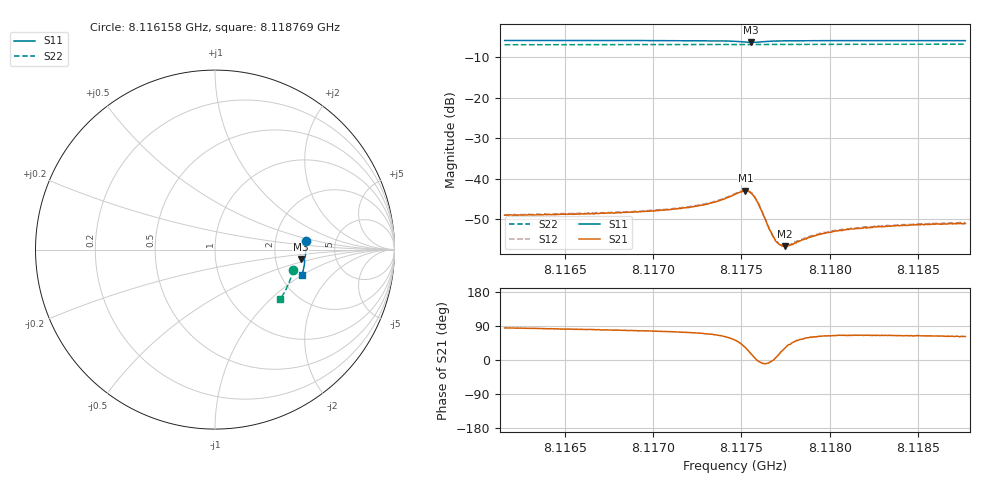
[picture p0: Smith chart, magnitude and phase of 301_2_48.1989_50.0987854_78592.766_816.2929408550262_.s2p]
#  HZ  S  RI  R  50.00
! Rohde & Schwarz Vector Network Analyzer
! Rohde-Schwarz,ZNB20-2Port,1311601062101988,3.16
! Created: UTC 3/20/2024, 11:49:34 AM
! freq[Hz]  re:S11  im:S11  re:S21  im:S21  re:S12  im:S12  re:S22  im:S22
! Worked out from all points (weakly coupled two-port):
!   401 points, 8.116158 GHz to 8.118769 GHz, reference 50 ohm
!   highest |S21| = -43.02 dB at 8.117522 GHz (marker M1); lowest = -56.7 dB at 8.117744 GHz (marker M2)
!   lowest |S11| = -6.4 dB at 8.117555 GHz (marker M3), VSWR 2.85, Z = 139 - j19.2 ohm
!   |S11| at or under -10 dB: nowhere
!   |S22| runs from -7.0 to -6.8 dB; largest |S21 - S12| = 0.00018
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8.1161576e9  0.5051 0.0463  0.000343 0.00351  0.000401 0.00355  0.4347 -0.1123
8.116595e9  0.5063 0.0133  0.00059 0.00362  0.000647 0.00369  0.4271 -0.1416
8.1170324e9  0.5052 -0.0208  0.00101 0.00391  0.00104 0.004  0.4177 -0.1705
8.1171825e9  0.5037 -0.033  0.00128 0.00418  0.00132 0.00422  0.414 -0.1804
8.1173e9  0.5015 -0.0436  0.00174 0.00448  0.00179 0.00458  0.4107 -0.1883
8.1173914e9  0.4981 -0.0527  0.00245 0.00493  0.00254 0.00499  0.4082 -0.1943
8.1174632e9  0.4913 -0.0597  0.0039 0.00507  0.00401 0.00512  0.406 -0.1986
8.117522e9  0.4807 -0.0596  0.00594 0.00383  0.00607 0.00379  0.4039 -0.2021
8.1175546e9  0.477 -0.0532  0.00635 0.00182  0.00652 0.0018  0.4029 -0.2038
8.1175742e9  0.4783 -0.0488  0.00587 0.000602  0.00598 0.000526  0.4025 -0.2047
8.1175938e9  0.4817 -0.0458  0.00496 -0.000199  0.00505 -0.00029  0.4021 -0.2057
8.1176591e9  0.4933 -0.0486  0.00232 -0.000234  0.00235 -0.000316  0.4008 -0.21
8.1176852e9  0.4956 -0.0517  0.00185 3.43e-05  0.00187 5.05e-05  0.4002 -0.2117
8.1177113e9  0.4971 -0.0548  0.00151 0.000391  0.0015 0.000397  0.3994 -0.2134
8.1177244e9  0.4976 -0.0564  0.00139 0.00057  0.00143 0.000528  0.399 -0.2144
8.1177439e9  0.4981 -0.0586  0.00126 0.000743  0.00132 0.000755  0.3985 -0.2155
8.1177766e9  0.4987 -0.0623  0.00115 0.001  0.00114 0.00102  0.3974 -0.2177
8.1179006e9  0.4985 -0.0741  0.00097 0.00167  0.000965 0.00172  0.3935 -0.2257
8.1179528e9  0.4983 -0.0787  0.00096 0.00185  0.000981 0.0019  0.3918 -0.2289
8.1180442e9  0.4972 -0.0864  0.000961 0.00205  0.00104 0.00208  0.3887 -0.2345
8.118338e9  0.4928 -0.1092  0.00109 0.00235  0.00115 0.00234  0.3785 -0.2523
8.1187689e9  0.4843 -0.1407  0.00131 0.00246  0.00136 0.00252  0.3619 -0.2777
